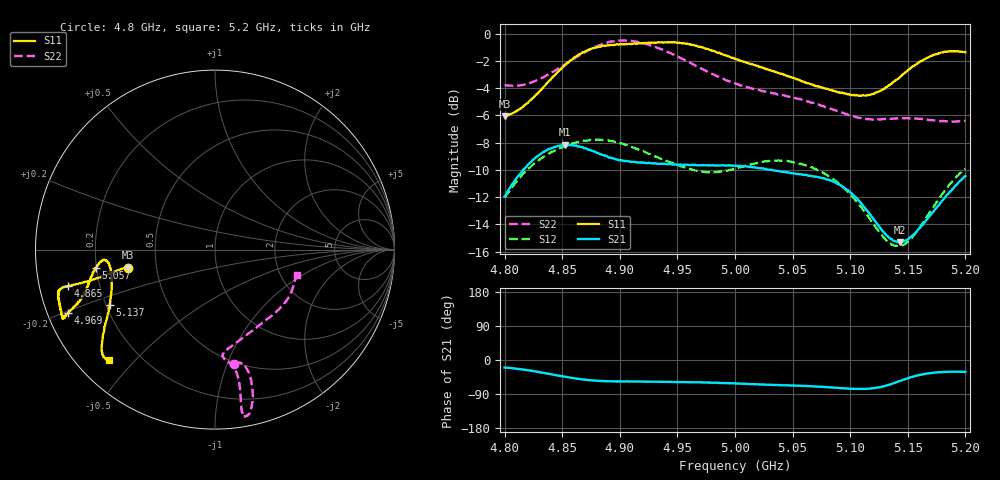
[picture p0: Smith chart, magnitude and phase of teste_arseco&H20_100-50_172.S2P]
! Network Analyzer HP8722D
! Hewlett-Packard
! Data name: Linha & Wilkinson
! Saver's name: Rodrigo Anjos
! Comments: Teste da utilização de aquisição
! continua pelo VNA HP8722D
! Time and date: 6/5/2025 14:00
!  Frequency  S11  S21  S12  S22
# HZ  S  MA R 50
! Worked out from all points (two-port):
!   401 points, 4.8 GHz to 5.2 GHz, reference 50 ohm
!   highest |S21| = -8.16 dB at 4.852 GHz (marker M1); lowest = -15.3 dB at 5.143 GHz (marker M2)
!   |S21| within 3 dB of the highest: 4.806 GHz to 5.092 GHz (286.4 MHz wide, 5.79 % of centre); 5.191491 GHz to end of sweep
!   lowest |S11| = -6.1 dB at 4.8 GHz (marker M3), VSWR 2.98, Z = 16.9 - j4.54 ohm
!   |S11| at or under -10 dB: nowhere
!   |S22| runs from -6.5 to -0.5 dB; largest |S21 - S12| = 0.62
!   S11 on the Smith chart (normalised r, x): 4.8 GHz: 0.34, -0.09; 4.865 GHz: 0.09, -0.12; 4.969 GHz: 0.06, -0.21; 5.057 GHz: 0.20, -0.07; 5.137 GHz: 0.22, -0.23; 5.2 GHz: 0.09, -0.42
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4.8e9  0.4977 -168.3  0.253 -19.9  0.2499 -141.0  0.6472 -80.4
4.826e9  0.5891 -167.3  0.3478 -29.9  0.3341 -144.8  0.6689 -75.6
4.852e9  0.7648 -166.0  0.3909 -44.1  0.3864 -149.6  0.7695 -74.7
4.865e9  0.841 -166.2  0.385 -49.9  0.4015 -151.9  0.8336 -75.4
4.867e9  0.8499 -165.9  0.3837 -51.1  0.4026 -152.2  0.8425 -75.5
4.898e9  0.9139 -163.1  0.3447 -56.4  0.3981 -156.6  0.9417 -79.0
4.914e9  0.9191 -159.7  0.3377 -56.7  0.3782 -157.2  0.9362 -80.4
4.934e9  0.9295 -156.5  0.3324 -57.6  0.3499 -155.8  0.8823 -80.6
4.969e9  0.8943 -156.6  0.3283 -59.1  0.3125 -147.5  0.7513 -79.8
5e9  0.8093 -159.0  0.3274 -61.9  0.3195 -137.4  0.6565 -81.3
5.035e9  0.7231 -165.4  0.3142 -66.0  0.3424 -134.5  0.6024 -85.6
5.057e9  0.6715 -171.2  0.3046 -68.0  0.3329 -136.0  0.5749 -84.7
5.067e9  0.6512 -173.1  0.3001 -69.3  0.323 -136.9  0.5578 -82.6
5.087e9  0.6142 -174.5  0.2842 -73.2  0.2886 -138.7  0.5236 -74.8
5.102e9  0.5947 -171.9  0.2572 -76.0  0.2521 -138.8  0.498 -65.8
5.116e9  0.5958 -165.5  0.2207 -76.0  0.212 -135.6  0.4856 -55.7
5.134e9  0.6473 -154.3  0.1774 -65.1  0.1701 -120.5  0.4876 -43.3
5.137e9  0.6619 -152.5  0.1743 -62.2  0.1679 -116.7  0.4877 -41.4
5.143e9  0.6915 -149.4  0.1713 -55.5  0.1659 -108.8  0.4889 -38.0
5.154e9  0.7575 -144.6  0.1814 -44.3  0.1792 -95.0  0.4883 -32.4
5.172e9  0.8354 -139.2  0.2214 -33.6  0.2305 -81.2  0.4807 -24.6
5.2e9  0.8549 -133.8  0.3004 -31.6  0.3194 -77.1  0.4787 -17.5
